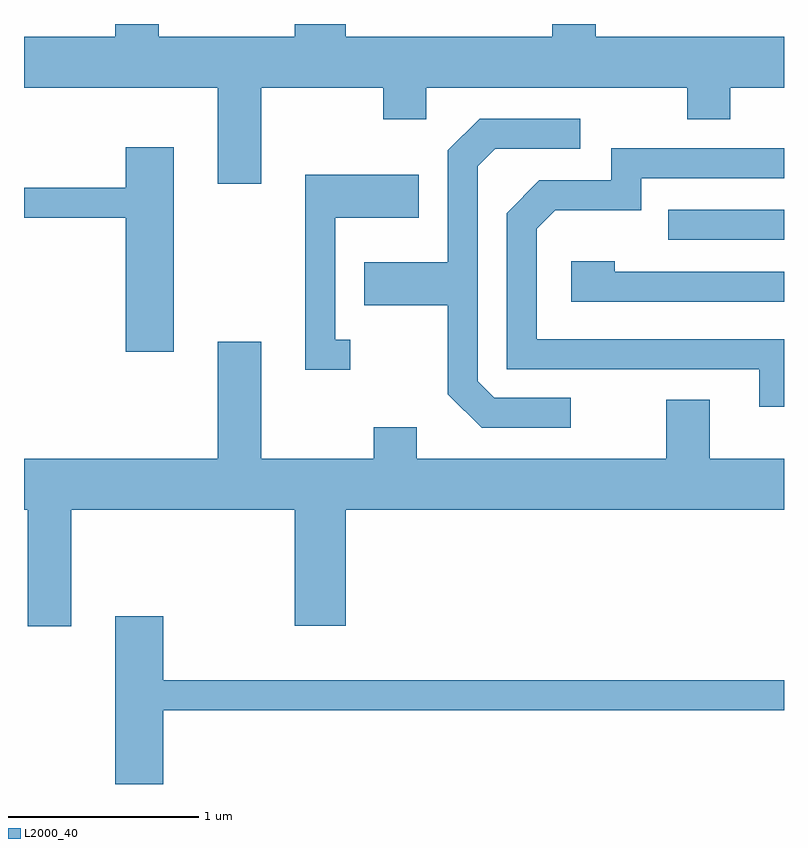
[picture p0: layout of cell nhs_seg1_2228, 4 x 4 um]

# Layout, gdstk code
import gdstk
lib = gdstk.Library(unit=1e-6, precision=1e-09)
def R(c, l, rs):  # rectangles x0, y0, x1, y1
    for r in rs: c.add(gdstk.rectangle(r[:2], r[2:], *l))
def P(c, l, *ps):  # polygons
    for p in ps: c.add(gdstk.Polygon(p, *l))
L2000_40 = (2000, 40)

nhs_seg1_2228 = lib.new_cell('nhs_seg1_2228')
R(nhs_seg1_2228, L2000_40, [(257.003,876.576,257.611,876.734)])
P(nhs_seg1_2228, L2000_40, [(255.501,877.211),(255.729,877.211),(255.729,877.376),(257.101,877.376),(257.101,877.211),(257.329,877.211),(257.329,877.376),(257.611,877.376),(257.611,877.644),(256.619,877.644),(256.619,877.712),(256.391,877.712),(256.391,877.644),(255.304,877.644),(255.304,877.712),(255.036,877.712),(255.036,877.644),(254.319,877.644),(254.319,877.712),(254.091,877.712),(254.091,877.644),(253.611,877.644),(253.611,877.376),(254.631,877.376),(254.631,876.871),(254.859,876.871),(254.859,877.376),(255.501,877.376)],
  [(256.488,875.744),(256.087,875.744),(255.999,875.832),(255.999,876.964),(256.092,877.056),(256.538,877.056),(256.538,877.214),(256.009,877.214),(255.841,877.047),(255.841,876.459),(255.401,876.459),(255.401,876.231),(255.841,876.231),(255.841,875.764),(256.019,875.586),(256.488,875.586)],
  [(254.399,877.064),(254.146,877.064),(254.146,876.849),(253.611,876.849),(253.611,876.691),(254.146,876.691),(254.146,875.986),(254.399,875.986)],
  [(257.611,876.054),(256.309,876.054),(256.309,876.634),(256.407,876.731),(256.859,876.731),(256.859,876.901),(257.611,876.901),(257.611,877.059),(256.701,877.059),(256.701,876.889),(256.324,876.889),(256.151,876.717),(256.151,875.896),(257.481,875.896),(257.481,875.698),(257.611,875.698)],
  [(255.328,876.049),(255.249,876.049),(255.249,876.691),(255.689,876.691),(255.689,876.919),(255.091,876.919),(255.091,875.891),(255.328,875.891)],
  [(257.611,876.409),(256.719,876.409),(256.719,876.464),(256.491,876.464),(256.491,876.251),(257.611,876.251)],
  [(253.859,875.156),(255.036,875.156),(255.036,874.546),(255.304,874.546),(255.304,875.156),(257.611,875.156),(257.611,875.424),(257.219,875.424),(257.219,875.734),(256.991,875.734),(256.991,875.424),(255.679,875.424),(255.679,875.589),(255.451,875.589),(255.451,875.424),(254.859,875.424),(254.859,876.039),(254.631,876.039),(254.631,875.424),(253.611,875.424),(253.611,875.156),(253.631,875.156),(253.631,874.541),(253.859,874.541)],
  [(254.344,874.101),(257.611,874.101),(257.611,874.259),(254.344,874.259),(254.344,874.594),(254.091,874.594),(254.091,873.712),(254.344,873.712)])

lib.write_gds('nhs_seg1_2228.gds')
